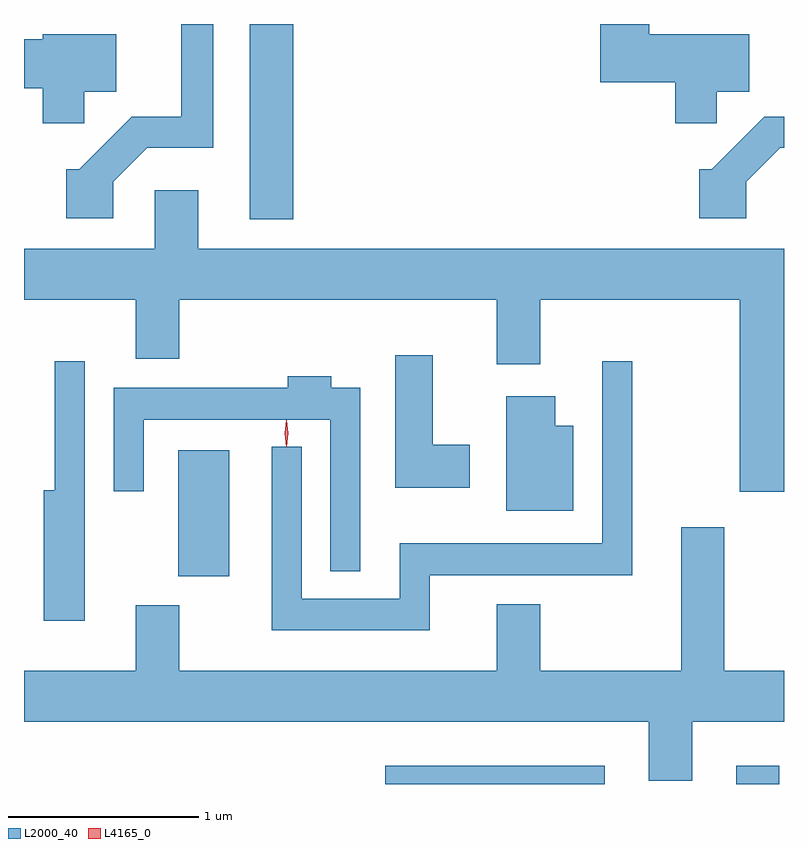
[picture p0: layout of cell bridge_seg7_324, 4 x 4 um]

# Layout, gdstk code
import gdstk
lib = gdstk.Library(unit=1e-6, precision=1e-09)
def R(c, l, rs):  # rectangles x0, y0, x1, y1
    for r in rs: c.add(gdstk.rectangle(r[:2], r[2:], *l))
def P(c, l, *ps):  # polygons
    for p in ps: c.add(gdstk.Polygon(p, *l))
L2000_40 = (2000, 40)
L4165_0 = (4165, 0)

bridge_seg7_324 = lib.new_cell('bridge_seg7_324')
R(bridge_seg7_324, L2000_40, [(1205.733,1758.388,1206.889,1758.484), (1207.581,1758.388,1207.809,1758.484), (1204.646,1759.481,1204.914,1760.144), (1205.021,1761.361,1205.249,1762.388)])
P(bridge_seg7_324, L2000_40, [(1204.304,1761.559),(1204.482,1761.736),(1204.829,1761.736),(1204.829,1762.388),(1204.661,1762.388),(1204.661,1761.899),(1204.399,1761.899),(1204.124,1761.624),(1204.056,1761.624),(1204.056,1761.366),(1204.304,1761.366)],
  [(1207.479,1762.031),(1207.649,1762.031),(1207.649,1762.334),(1207.124,1762.334),(1207.124,1762.388),(1206.866,1762.388),(1206.866,1762.081),(1207.261,1762.081),(1207.261,1761.866),(1207.479,1761.866)],
  [(1204.149,1762.031),(1204.319,1762.031),(1204.319,1762.334),(1203.931,1762.334),(1203.931,1762.309),(1203.833,1762.309),(1203.833,1762.051),(1203.931,1762.051),(1203.931,1761.866),(1204.149,1761.866)],
  [(1207.634,1761.559),(1207.812,1761.736),(1207.833,1761.736),(1207.833,1761.899),(1207.729,1761.899),(1207.454,1761.624),(1207.386,1761.624),(1207.386,1761.366),(1207.634,1761.366)],
  [(1207.833,1761.204),(1204.749,1761.204),(1204.749,1761.514),(1204.521,1761.514),(1204.521,1761.204),(1203.833,1761.204),(1203.833,1760.936),(1204.421,1760.936),(1204.421,1760.626),(1204.649,1760.626),(1204.649,1760.936),(1206.321,1760.936),(1206.321,1760.596),(1206.549,1760.596),(1206.549,1760.936),(1207.601,1760.936),(1207.601,1759.926),(1207.833,1759.926)],
  [(1206.179,1760.174),(1205.984,1760.174),(1205.984,1760.644),(1205.786,1760.644),(1205.786,1759.946),(1206.179,1759.946)],
  [(1204.154,1760.613),(1203.996,1760.613),(1203.996,1759.934),(1203.936,1759.934),(1203.936,1759.246),(1204.154,1759.246)],
  [(1205.969,1759.486),(1207.034,1759.486),(1207.034,1760.613),(1206.876,1760.613),(1206.876,1759.654),(1205.811,1759.654),(1205.811,1759.364),(1205.294,1759.364),(1205.294,1760.163),(1205.136,1760.163),(1205.136,1759.196),(1205.969,1759.196)],
  [(1205.604,1760.474),(1205.449,1760.474),(1205.449,1760.534),(1205.221,1760.534),(1205.221,1760.474),(1204.306,1760.474),(1204.306,1759.928),(1204.464,1759.928),(1204.464,1760.306),(1205.446,1760.306),(1205.446,1759.508),(1205.604,1759.508)],
  [(1206.724,1760.274),(1206.629,1760.274),(1206.629,1760.429),(1206.371,1760.429),(1206.371,1759.826),(1206.724,1759.826)],
  [(1207.349,1758.716),(1207.833,1758.716),(1207.833,1758.984),(1207.519,1758.984),(1207.519,1759.739),(1207.291,1759.739),(1207.291,1758.984),(1206.549,1758.984),(1206.549,1759.334),(1206.321,1759.334),(1206.321,1758.984),(1204.649,1758.984),(1204.649,1759.329),(1204.421,1759.329),(1204.421,1758.984),(1203.833,1758.984),(1203.833,1758.716),(1207.121,1758.716),(1207.121,1758.406),(1207.349,1758.406)])
P(bridge_seg7_324, L4165_0, [(1205.214,1760.164),(1205.205,1760.233),(1205.214,1760.302),(1205.215,1760.303),(1205.215,1760.302),(1205.225,1760.233),(1205.215,1760.164),(1205.215,1760.164)],
  [(1205.214,1760.167),(1205.205,1760.234),(1205.214,1760.3),(1205.215,1760.3),(1205.215,1760.3),(1205.225,1760.234),(1205.215,1760.167),(1205.215,1760.167)])

lib.write_gds('bridge_seg7_324.gds')
